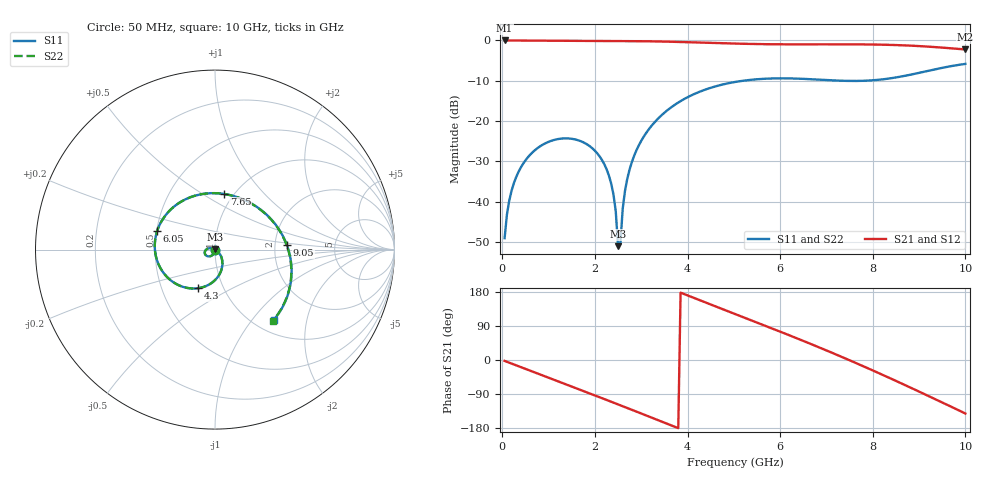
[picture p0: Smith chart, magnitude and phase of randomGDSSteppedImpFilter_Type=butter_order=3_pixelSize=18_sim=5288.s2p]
! freq	dB(S11)	phase(S11)	dB(S12)	phase(S12)
!  dB(S21)	phase(S21)	dB(S22)	phase(S22)
!S-par simulation data
#  GHz  S  DB  R 50
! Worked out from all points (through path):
!   200 points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, 50 MHz to 10 GHz, reference 50 ohm
!   highest |S21| = -0.01 dB at 50 MHz (marker M1); lowest = -2.2 dB at 10 GHz (marker M2)
!   group delay of S21, straight-line fit = 137 ps
!   lowest |S11| = -51.1 dB at 2.5 GHz (marker M3), VSWR 1.01, Z = 49.8 + j0.227 ohm
!   |S11| at or under -10 dB: start of sweep to 5.202 GHz; 7.314 GHz to 7.838 GHz (524.9 MHz wide, 6.93 % of centre)
!   |S22| runs from -50.9 to -5.8 dB; largest |S21 - S12| = 0
!   S11 on the Smith chart (normalised r, x): 50 MHz: 1.00, -0.01; 4.3 GHz: 0.76, -0.35; 6.05 GHz: 0.50, +0.12; 7.65 GHz: 0.91, +0.62; 9.05 GHz: 2.33, +0.14; 10 GHz: 1.21, -1.29
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0.05  -49.10 -89.0  -0.01 -2.4  -0.01 -2.4  -49.10 -89.0
0.1  -43.23 -92.3  -0.01 -4.7  -0.01 -4.7  -43.23 -92.3
0.2  -37.32 -98.4  -0.02 -9.4  -0.02 -9.4  -37.32 -98.4
0.55  -29.05 -116.2  -0.04 -25.8  -0.04 -25.8  -29.05 -116.2
1.1  -24.77 -142.5  -0.07 -51.4  -0.07 -51.4  -24.77 -142.6
1.75  -25.30 -173.5  -0.10 -81.8  -0.10 -81.8  -25.30 -173.6
2.3  -33.47 158.4  -0.13 -107.7  -0.13 -107.7  -33.47 158.0
2.45  -42.42 144.9  -0.13 -114.8  -0.13 -114.8  -42.40 143.8
2.5  -51.08 125.4  -0.14 -117.2  -0.14 -117.2  -50.87 122.5
2.55  -50.44 -1.9  -0.14 -119.6  -0.14 -119.6  -50.21 0.5
2.6  -41.80 -23.4  -0.14 -121.9  -0.14 -121.9  -41.76 -22.3
2.65  -37.32 -29.6  -0.15 -124.3  -0.15 -124.3  -37.30 -28.9
2.8  -30.12 -39.8  -0.16 -131.5  -0.16 -131.5  -30.12 -39.5
3.4  -19.00 -70.4  -0.26 -160.5  -0.26 -160.5  -18.99 -70.3
4.3  -12.56 -113.9  -0.54 156.0  -0.54 156.0  -12.56 -113.9
5.05  -10.26 -149.6  -0.79 120.3  -0.79 120.3  -10.26 -149.7
6.05  -9.41 162.5  -0.97 72.5  -0.97 72.5  -9.41 162.4
6.7  -9.65 130.2  -0.97 40.4  -0.97 40.4  -9.65 130.0
7.65  -10.06 80.5  -0.97 -8.7  -0.97 -8.7  -10.06 80.0
8.35  -9.46 42.4  -1.09 -46.7  -1.09 -46.7  -9.46 41.8
9.05  -7.93 3.5  -1.43 -86.2  -1.43 -86.2  -7.93 2.9
10  -5.83 -50.3  -2.24 -141.2  -2.24 -141.2  -5.83 -51.0
